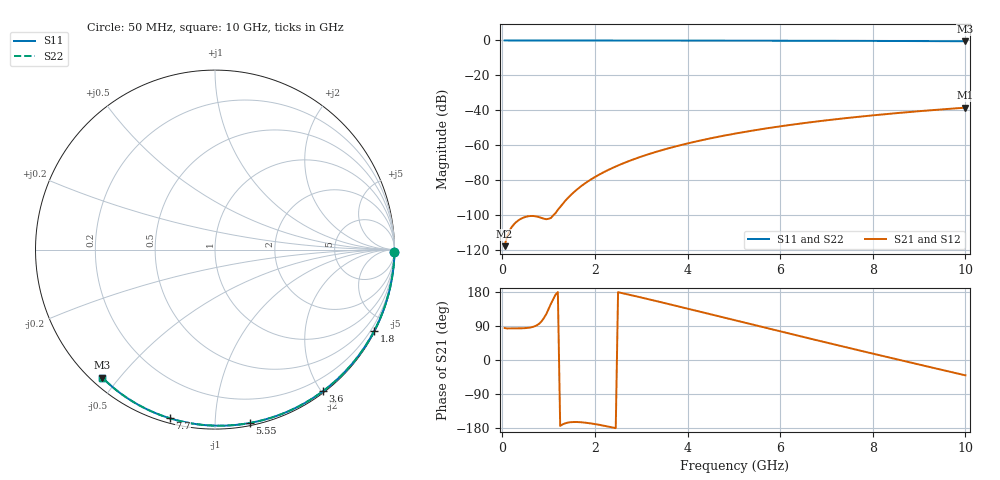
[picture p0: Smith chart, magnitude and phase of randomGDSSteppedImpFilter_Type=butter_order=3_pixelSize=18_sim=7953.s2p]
! freq	dB(S11)	phase(S11)	dB(S12)	phase(S12)
!  dB(S21)	phase(S21)	dB(S22)	phase(S22)
!S-par simulation data
#  GHz  S  DB  R 50
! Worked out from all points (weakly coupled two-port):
!   200 points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, 50 MHz to 10 GHz, reference 50 ohm
!   highest |S21| = -38.41 dB at 10 GHz (marker M1); lowest = -117.6 dB at 50 MHz (marker M2)
!   lowest |S11| = -0.4 dB at 10 GHz (marker M3), VSWR 39.19, Z = 1.54 - j22.6 ohm
!   |S11| at or under -10 dB: nowhere
!   |S22| runs from -0.4 to 0.0 dB; largest |S21 - S12| = 0
!   S11 on the Smith chart (normalised r, x): 50 MHz: open; 1.8 GHz: 0.04, -4.18; 3.6 GHz: 0.02, -2.02; 5.55 GHz: 0.02, -1.22; 7.7 GHz: 0.02, -0.77; 10 GHz: 0.03, -0.45
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0.05  -0.00 -0.8  -117.58 84.4  -117.58 84.4  -0.00 -0.8
0.9  -0.02 -13.6  -101.88 111.1  -101.88 111.1  -0.02 -13.6
1.75  -0.03 -26.2  -82.36 -164.8  -82.36 -164.8  -0.03 -26.2
1.8  -0.03 -26.9  -81.42 -165.5  -81.42 -165.5  -0.03 -26.9
1.85  -0.04 -27.6  -80.53 -166.3  -80.53 -166.3  -0.04 -27.6
1.9  -0.04 -28.4  -79.68 -167.2  -79.68 -167.2  -0.04 -28.4
2.05  -0.04 -30.6  -77.30 -170.1  -77.30 -170.1  -0.04 -30.6
2.25  -0.04 -33.5  -74.50 -174.8  -74.50 -174.8  -0.04 -33.5
2.45  -0.05 -36.4  -72.02 -179.8  -72.02 -179.8  -0.05 -36.4
2.65  -0.05 -39.2  -69.80 174.8  -69.80 174.8  -0.05 -39.2
3  -0.06 -44.2  -66.39 165.0  -66.39 165.0  -0.06 -44.2
3.4  -0.07 -49.9  -63.05 153.4  -63.05 153.4  -0.07 -49.9
3.6  -0.07 -52.6  -61.56 147.5  -61.56 147.5  -0.07 -52.6
4.3  -0.09 -62.2  -57.05 126.6  -57.05 126.6  -0.09 -62.2
5.05  -0.11 -72.2  -53.12 104.1  -53.12 104.1  -0.11 -72.2
5.55  -0.13 -78.6  -50.89 89.1  -50.89 89.1  -0.13 -78.6
6.1  -0.15 -85.6  -48.71 72.7  -48.71 72.7  -0.15 -85.6
6.7  -0.18 -93.0  -46.60 54.9  -46.60 54.9  -0.18 -93.0
7.7  -0.24 -105.0  -43.61 25.5  -43.61 25.5  -0.24 -105.0
8.35  -0.29 -112.6  -41.93 6.7  -41.93 6.7  -0.29 -112.6
9.15  -0.36 -121.7  -40.11 -16.2  -40.11 -16.2  -0.36 -121.7
10  -0.44 -131.3  -38.41 -40.5  -38.41 -40.5  -0.44 -131.3
